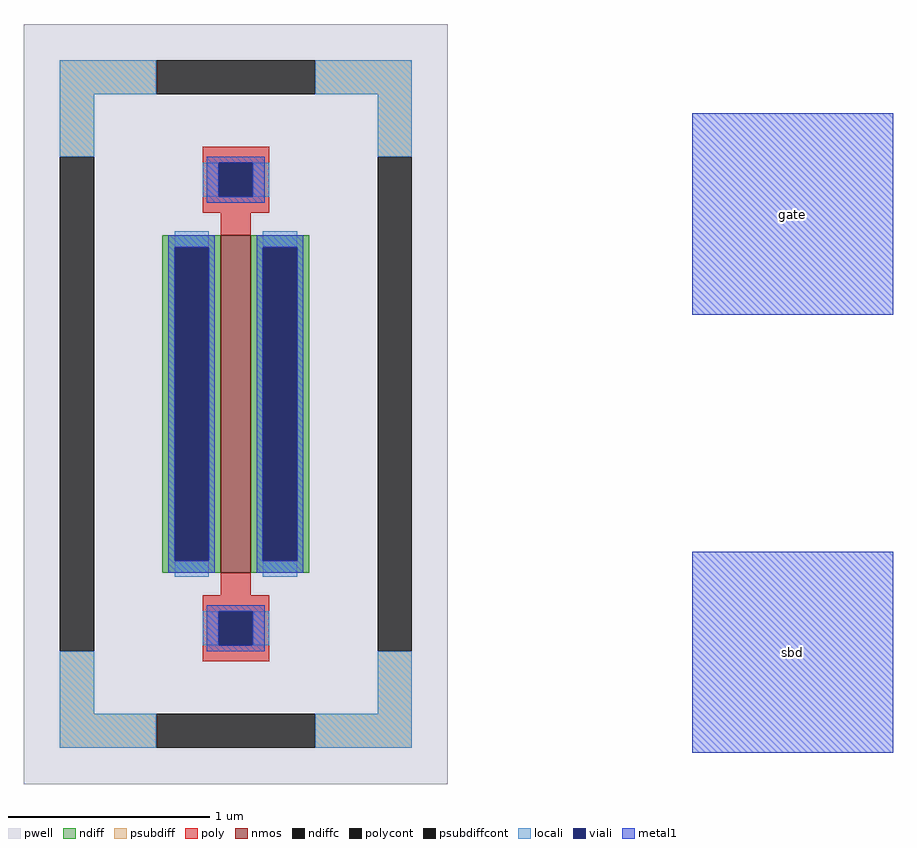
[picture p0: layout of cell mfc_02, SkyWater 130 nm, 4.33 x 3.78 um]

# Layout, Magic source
magic
tech sky130A
magscale 1 2
<< metal1 >>
rect 612 14 812 214
rect 612 -422 812 -222
use sky130_fd_pr__nfet_01v8_8ULSVF  XM2
transform 1 0 158 0 1 -75
box -211 -378 211 378
<< labels >>
flabel metal1 612 14 812 214 0 FreeSans 256 0 0 0 gate
port 0 nsew
flabel metal1 612 -422 812 -222 0 FreeSans 256 0 0 0 sbd
port 1 nsew
<< end >>

# cell sky130_fd_pr__nfet_01v8_8ULSVF: kit device sky130_fd_pr__nfet_01v8, w 1.68 l 0.15 m 1 nf 1 diffcov 100 polycov 100 guard 1 glc 1 grc 1 gtc 1 gbc 1 tbcov 100 rlcov 100 topc 1 botc 1 poverlap 0 doverlap 1 lmin 0.15 wmin 0.42 compatible {sky130_fd_pr__nfet_01v8 sky130_fd_pr__nfet_01v8_lvt sky130_fd_bs_flash__special_sonosfet_star sky130_fd_pr__nfet_g5v0d10v5 sky130_fd_pr__nfet_05v0_nvt sky130_fd_pr__nfet_03v3_nvt} full_metal 1 viasrc 100 viadrn 100 viagate 100 viagb 0 viagr 0 viagl 0 viagt 0
